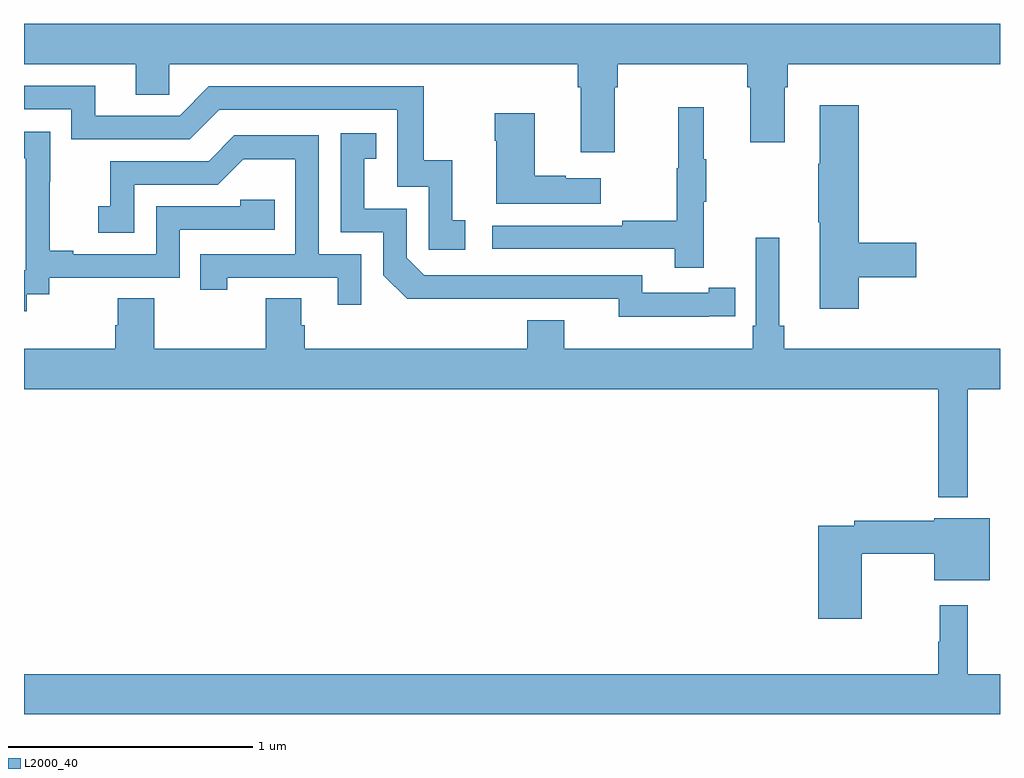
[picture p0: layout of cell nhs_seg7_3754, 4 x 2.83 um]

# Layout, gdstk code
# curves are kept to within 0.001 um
import gdstk
lib = gdstk.Library(unit=1e-6, precision=1e-09)
def P(c, l, *ps):  # polygons
    for p in ps: c.add(gdstk.Polygon(p, *l))
L2000_40 = (2000, 40)

nhs_seg7_3754 = lib.new_cell('nhs_seg7_3754')
P(nhs_seg7_3754, L2000_40, [(351.421,1043.144),(351.434,1043.144),(351.434,1043.24),(351.965,1043.24),(351.965,1043.144),(351.977,1043.144),(351.977,1042.92),(352.117,1042.92),(352.117,1043.144),(352.13,1043.144),(352.13,1043.24),(353,1043.24),(353,1043.404),(349,1043.404),(349,1043.24),(349.457,1043.24),(349.457,1043.113),(349.596,1043.113),(349.596,1043.24),(351.269,1043.24),(351.269,1043.144),(351.281,1043.144),(351.281,1042.878),(351.421,1042.878)],
  [(350.809,1042.599),(350.756,1042.599),(350.756,1042.846),(350.638,1042.846),(350.638,1043.148),(349.758,1043.148),(349.638,1043.028),(349.291,1043.028),(349.291,1043.151),(349,1043.151),(349,1043.055),(349.194,1043.055),(349.194,1042.932),(349.68,1042.932),(349.8,1043.052),(350.529,1043.052),(350.529,1042.737),(350.658,1042.737),(350.658,1042.478),(350.809,1042.478)],
  [(352.421,1042.366),(352.657,1042.366),(352.657,1042.507),(352.421,1042.507),(352.421,1043.071),(352.262,1043.071),(352.262,1042.832),(352.255,1042.832),(352.255,1042.591),(352.262,1042.591),(352.262,1042.236),(352.421,1042.236)],
  [(351.785,1042.675),(351.796,1042.675),(351.796,1042.849),(351.785,1042.849),(351.785,1043.062),(351.682,1043.062),(351.682,1042.812),(351.675,1042.812),(351.675,1042.598),(351.451,1042.598),(351.451,1042.578),(350.919,1042.578),(350.919,1042.482),(351.667,1042.482),(351.667,1042.404),(351.785,1042.404)],
  [(351.364,1042.771),(351.221,1042.771),(351.221,1042.781),(351.094,1042.781),(351.094,1043.038),(350.929,1043.038),(350.929,1042.925),(350.936,1042.925),(350.936,1042.667),(351.364,1042.667)],
  [(349.012,1042.297),(349.104,1042.297),(349.104,1042.365),(349.638,1042.365),(349.638,1042.56),(350.027,1042.56),(350.027,1042.683),(349.887,1042.683),(349.887,1042.656),(349.542,1042.656),(349.542,1042.461),(349.201,1042.461),(349.201,1042.474),(349.106,1042.474),(349.106,1042.757),(349.107,1042.757),(349.107,1042.963),(349,1042.963),(349,1042.853),(349.007,1042.853),(349.007,1042.625),(349.008,1042.625),(349.008,1042.395),(349,1042.395),(349,1042.227),(349.012,1042.227)],
  [(351.806,1042.206),(351.914,1042.206),(351.914,1042.322),(351.806,1042.322),(351.806,1042.302),(351.534,1042.302),(351.534,1042.374),(350.64,1042.374),(350.568,1042.446),(350.568,1042.647),(350.395,1042.647),(350.395,1042.851),(350.444,1042.851),(350.444,1042.957),(350.298,1042.957),(350.298,1042.551),(350.472,1042.551),(350.472,1042.374),(350.57,1042.277),(351.438,1042.278),(351.438,1042.205)],
  [(350.382,1042.461),(350.208,1042.461),(350.208,1042.947),(349.862,1042.947),(349.757,1042.842),(349.354,1042.842),(349.354,1042.657),(349.305,1042.657),(349.305,1042.548),(349.452,1042.548),(349.452,1042.746),(349.794,1042.746),(349.898,1042.85),(350.112,1042.85),(350.112,1042.461),(349.723,1042.461),(349.723,1042.314),(349.834,1042.314),(349.834,1042.365),(350.285,1042.365),(350.285,1042.254),(350.382,1042.254)],
  [(352.867,1041.908),(353,1041.908),(353,1042.072),(352.115,1042.072),(352.115,1042.168),(352.096,1042.168),(352.096,1042.528),(351.999,1042.528),(351.999,1042.168),(351.986,1042.168),(351.986,1042.072),(351.214,1042.072),(351.214,1042.189),(351.062,1042.189),(351.062,1042.072),(350.15,1042.072),(350.15,1042.17),(350.137,1042.17),(350.137,1042.28),(349.99,1042.28),(349.99,1042.072),(349.533,1042.072),(349.533,1042.28),(349.385,1042.28),(349.385,1042.17),(349.373,1042.17),(349.373,1042.072),(349,1042.072),(349,1041.908),(352.746,1041.908),(352.746,1041.464),(352.867,1041.464)],
  [(352.434,1041.232),(352.73,1041.232),(352.73,1041.125),(352.957,1041.125),(352.957,1041.379),(352.73,1041.379),(352.73,1041.368),(352.402,1041.368),(352.402,1041.348),(352.256,1041.348),(352.256,1040.967),(352.434,1040.967)],
  [(353,1040.74),(352.867,1040.74),(352.867,1041.022),(352.753,1041.022),(352.753,1040.873),(352.746,1040.873),(352.746,1040.74),(349,1040.74),(349,1040.576),(353,1040.576)])

lib.write_gds('nhs_seg7_3754.gds')
